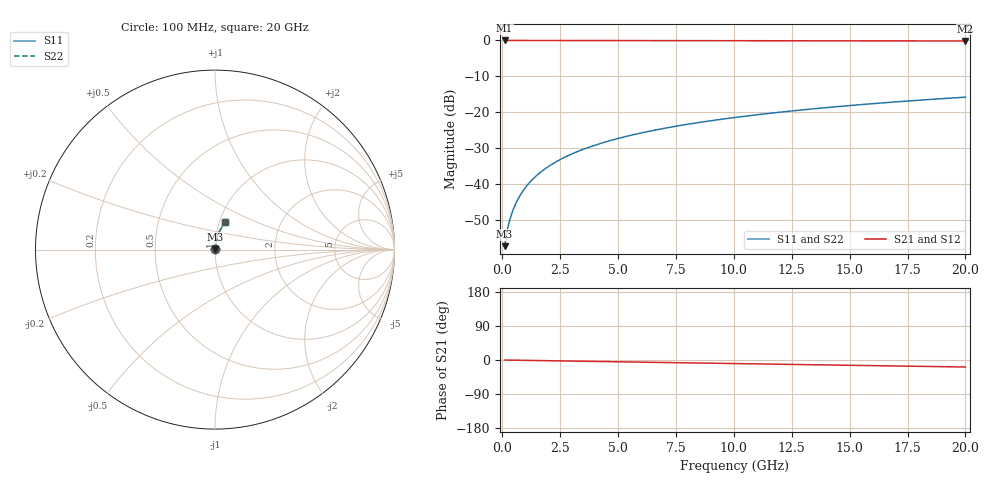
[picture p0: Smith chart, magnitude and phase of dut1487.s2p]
! Touchstone file exported from HFSS 2026.1.0
!  File:  C:/ffzhzh/LocalFiles/Ansys_Project_Files/temp_train_TMRDL_1487_1783167808_22436.aedt
!  Generated:  08:24:42 PM Jul  4, 2026
!  Design:  TMRDL
!  Project:  temp_train_TMRDL_1487_1783167808_22436
! Variables:
!  h_bsmrdl = 2um
!  h_ox = 20um
!  h_rdl = 5um
!  h_sub = 80um
!  h_tmrdl = 4.2um
!  h_tsv = 80um
!  h_via = 3um
!  l_bsmrdl = 300um
!  l_sub = 646.5um
!  l_tmrdl = 246.5um
!  m_sub = 200um
!  pitch = 53.01um
!  r_tsv = 6um
!  s_tmrdl = 10um
!  w_bsmrdl = 18um
!  w_sub = 500um
!  w_tmrdl = 29.13um
!  x_tsv_center1 = 261.065um
!  x_tsv_center2 = 579.065um
!  x_tsv_center3 = 854.695um
!  x_tsv_center4 = 1172.695um
!  x_tsv_center5 = 1448.325um
!  x_tsv_center6 = 1766.325um
# GHz S MA R 50.000000
! Terminal data exported
! Port[1] = TM_RDL1_1_T1
! Port[2] = TM_RDL1_1_T2
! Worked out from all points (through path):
!   200 points, 100 MHz to 20 GHz, reference 50 ohm
!   highest |S21| = -0.01 dB at 100 MHz (marker M1); lowest = -0.2 dB at 20 GHz (marker M2)
!   group delay of S21, straight-line fit = 2.57 ps
!   lowest |S11| = -57.4 dB at 100 MHz (marker M3), VSWR 1.00, Z = 50.1 + j0.0976 ohm
!   |S11| at or under -10 dB: start of sweep to end of sweep
!   |S22| runs from -57.4 to -15.8 dB; largest |S21 - S12| = 2.6e-15
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0.1  0.001351 46.2  0.9991 -0.1  0.9991 -0.1  0.001351 46.2
! Gamma 0 0 0 0
! Port Impedance 50 0 50 0
0.2  0.002134 61.5  0.999 -0.2  0.999 -0.2  0.002134 61.5
0.3  0.002946 68.6  0.9989 -0.3  0.9989 -0.3  0.002947 68.6
0.4  0.003772 72.7  0.9989 -0.4  0.9989 -0.4  0.003772 72.7
0.5  0.00461 75.5  0.9988 -0.5  0.9988 -0.5  0.00461 75.5
0.6  0.005456 77.4  0.9988 -0.6  0.9988 -0.6  0.005456 77.4
0.8  0.007166 79.9  0.9988 -0.8  0.9988 -0.8  0.007166 79.8
1.1  0.009751 81.8  0.9987 -1.1  0.9987 -1.1  0.009751 81.8
1.5  0.01321 83.0  0.9986 -1.4  0.9986 -1.4  0.01321 83.0
1.8  0.0158 83.4  0.9985 -1.7  0.9985 -1.7  0.0158 83.4
2.1  0.01838 83.6  0.9984 -2.0  0.9984 -2.0  0.01838 83.6
2.7  0.02353 83.6  0.9981 -2.6  0.9981 -2.6  0.02353 83.6
3.5  0.03034 83.3  0.9977 -3.3  0.9977 -3.3  0.03034 83.3
4.2  0.03625 82.8  0.9973 -4.0  0.9973 -4.0  0.03625 82.8
5  0.04295 82.3  0.9968 -4.8  0.9968 -4.8  0.04295 82.3
5.9  0.05044 81.6  0.9963 -5.6  0.9963 -5.6  0.05044 81.6
6.8  0.05786 80.9  0.9956 -6.4  0.9956 -6.4  0.05786 80.9
8.3  0.07013 79.7  0.9945 -7.8  0.9945 -7.8  0.07013 79.7
10.1  0.0847 78.2  0.993 -9.5  0.993 -9.5  0.0847 78.2
13.4  0.111 75.4  0.9898 -12.5  0.9898 -12.5  0.111 75.4
16.7  0.1367 72.6  0.9862 -15.5  0.9862 -15.5  0.1367 72.6
20  0.1618 69.8  0.982 -18.5  0.982 -18.5  0.1618 69.8
